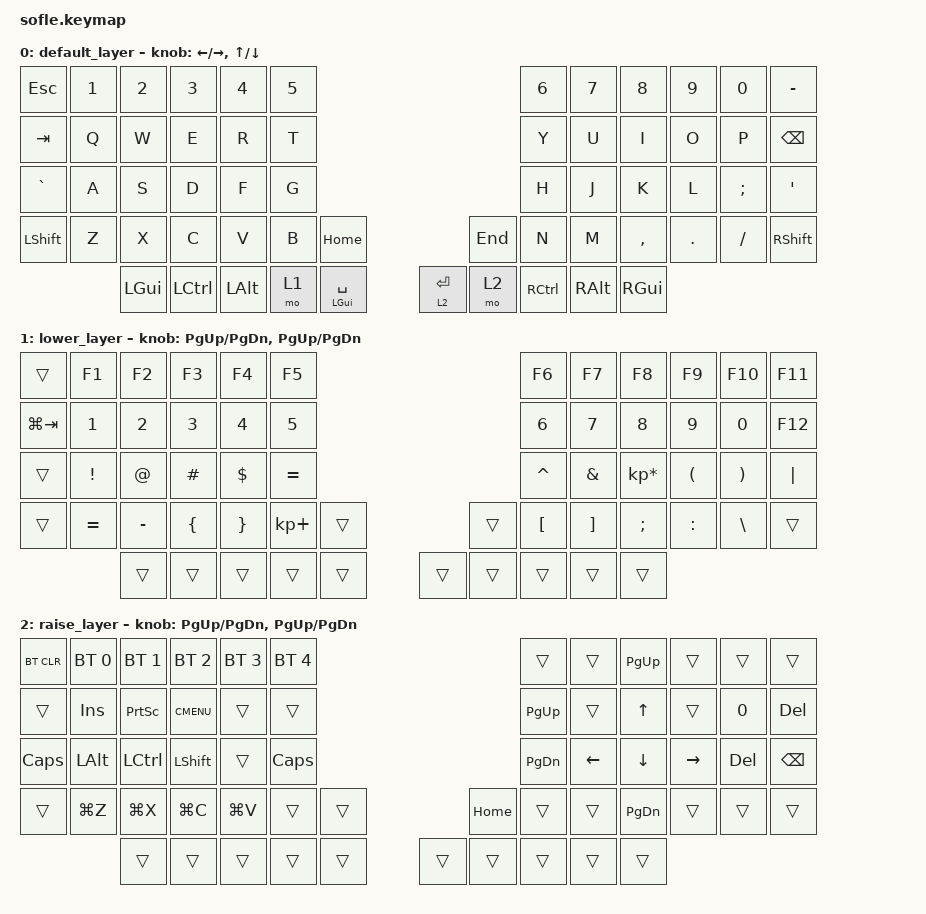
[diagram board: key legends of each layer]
/*
 * Copyright (c) 2020 The ZMK Contributors
 *
 * SPDX-License-Identifier: MIT
 * https://www.youtube.com/watch?v=8wZ8FRwOzhU ben cormack on layers
 * Andrej Mosat softle keyboard layout for ZMK v1 
 * v 0.33 beautiful clicking sound 
 * sticky key removed on shift 
 */

#include <behaviors.dtsi>
#include <dt-bindings/zmk/keys.h>
#include <dt-bindings/zmk/bt.h>


/ {
//    behaviors {
//       as: auto_shift {
//               compatible = "zmk,behavior-hold-tap";
//               label = "AutoShift";
//               #binding-cells = <2>;
//               tapping-term-ms = <220>;
//               quick_tap_ms = <0>;
//               flavor = "tap-preferred";
//               bindings = <&kp>, <&kp>;
//       };
//    };

    keymap {
        compatible = "zmk,keymap";

        default_layer {
// ------------------------------------------------------------------------------------------------------------
// |  ESC  |  1  |  2  |  3   |  4   |  5   |                   |  6   |  7    |  8    |  9   |   0   |   -   |
// |  TAB  |  Q  |  W  |  E   |  R   |  T   |                   |  Y   |  U    |  I    |  O   |   P   | BKSPC |
// | GRAVE |  A  |  S  |  D   |  F   |  G   |                   |  H   |  J    |  K    |  L   |   ;   |   '   |
// | SHIFT |  Z  |  X  |  C   |  V   |  B   |  HOME  |  | END   |  N   |  M    |  ,    |  .   |   /   | SHIFT |
//               | GUI | CTRL | ALT  | LOWER|  SPACE |  | ENTER | RAISE| CTRL  | ALT   | GUI  |
            bindings = <
//&kp ESC   &kp N1 &kp N2   &kp N3   &kp N4    &kp N5                          &kp N6 &kp N7    &kp N8    &kp N9   &kp N0   &kp MINUS            
//&kp TAB   &kp Q  &kp W    &kp E    &kp R     &kp T                           &kp Y  &kp U     &kp I     &kp O    &kp P    &kp BSPC
//&kp GRAVE &kp A  &kp S    &kp D    &kp F     &kp G                           &kp H  &kp J     &kp K     &kp L    &kp SEMI &kp SQT
//&sk LSHFT &kp Z  &kp X    &kp C    &kp V     &kp B  &kp HOME        &kp END  &kp N  &kp M     &kp COMMA &kp DOT  &kp FSLH &sk RSHFT
//                 &kp LGUI &kp LCTRL &kp LALT &mo 1  &mt LGUI SPACE  &lt 2 RET  &mo 2  &kp RCTRL &kp RALT  &kp RGUI



&kp ESC   &kp N1 &kp N2   &kp N3   &kp N4    &kp N5                                        &kp N6 &kp N7    &kp N8    &kp N9   &kp N0   &kp MINUS            
&kp TAB   &kp Q  &kp W    &kp E    &kp R     &kp T                                         &kp Y  &kp U     &kp I     &kp O    &kp P    &kp BSPC
&kp GRAVE &kp A  &kp S    &kp D    &kp F     &kp G                                         &kp H  &kp J     &kp K     &kp L    &kp SEMI &kp SQT
&kp LSHFT &kp Z  &kp X    &kp C    &kp V     &kp B  &kp HOME                      &kp END  &kp N  &kp M     &kp COMMA &kp DOT  &kp FSLH &kp RSHFT
                 &kp LGUI &kp LCTRL &kp LALT &mo 1  &mt LGUI SPACE  &lt 2 RET  &mo 2  &kp RCTRL &kp RALT  &kp RGUI

//&kp ESC   &kp N1 &kp N2   &kp N3   &kp N4    &kp N5                                        &kp N6 &kp N7    &kp N8    &kp N9   &kp N0   &kp MINUS            
//&kp TAB   &as LS(Q) Q &as LS(W) W &as LS(E) E &as LS(R) R &as LS(T) T                      &as LS(Y) Y &as LS(U) U &as LS(I) I &as LS(O) O &as LS(P) P    &kp BSPC
//&kp GRAVE &as LS(A) A &as LS(S) S &as LS(D) D &as LS(F) F &as LS(G) G                      &as LS(H) H &as LS(J) J &as LS(K) K &as LS(L) L    &kp SEMI &kp SQT
//&sk LSHFT &as LS(Z) Z &as LS(X) X &as LS(C) C &as LS(V) V &as LS(B) B  &kp HOME   &kp END  &as LS(N) N &as LS(M) M &as LS(COMMA) COMMA &as LS(DOT) DOT &kp FSLH &sk RSHFT
//                 &kp LGUI &kp LCTRL &kp LALT &mo 1  &mt LGUI SPACE  &lt 2 RET  &mo 2  &kp RCTRL &kp RALT  &kp RGUI



//&kp ESC   &kp N1 &kp N2   &kp N3   &kp N4    &kp N5                          &kp N6 &kp N7    &kp N8    &kp N9   &kp N0   &kp MINUS
//&kp TAB   &as LS(Q) Q &as LS(W) W &as LS(E) E &as LS(R) R &as LS(T) T                  &as LS(Y) Y &as LS(U) U &as LS(I) I &as LS(O) O &as LS(P) P  &kp BSPC
//&kp GRAVE &as LS(A) A &as LS(S) S &as LS(D) D &as LS(F) F &as LS(G) G                  &as LS(H) H &as LS(J) J &as LS(K) K &as LS(L) L &kp SEMI     &kp SQT
//&sk LSHFT &as LS(Z) Z &as LS(X) X &as LS(C) C &as LS(V) V &as LS(B) B  &kp HOME        &kp END  &as LS(N) N &as LS(M) M &as LS(COMMA) COMMA &as LS(DOT) DOT &kp FSLH &mt RSHIFT PAR
//                 &kp LGUI &kp LCTRL &kp LALT &mo 1  &mt LGUI SPACE  &lt 2 RET  &mo 2  &kp RCTRL &kp RALT  &kp RGUI
            >;

            sensor-bindings = <&inc_dec_kp LEFT RIGHT &inc_dec_kp UP DOWN>;
        };

        lower_layer {
// TODO: Some binds are waiting for shifted keycode support.
// ------------------------------------------------------------------------------------------------------------
// |       |  F1 |  F2 |  F3  |  F4  |  F5  |                   |  F6  |  F7   |  F8   |  F9  |  F10  |  F11  |
// | M^TAB |   1 |   2 |   3  |   4  |   5  |                   |   6  |   7   |   8   |   9  |    0  |  F12  |
// |       |  !  |  @  |  #   |  $   |  =   |                   |  ^   |  &    |  *    |  (   |   )   |   |   |
// |       |  =  |  -  |  {   |  }   |  +   |        |  |       |  [   |  ]    |  ;    |  :   |   \   |       |
//               |     |      |      |      |        |  |       |      |       |       |      |
            bindings = <
&trans      &kp F1    &kp F2    &kp F3      &kp F4    &kp F5                    &kp F6    &kp F7   &kp F8          &kp F9    &kp F10   &kp F11
&kp LG(TAB) &kp N1    &kp N2    &kp N3      &kp N4    &kp N5                    &kp N6    &kp N7   &kp N8          &kp N9    &kp N0    &kp F12
&trans      &kp EXCL  &kp AT    &kp HASH    &kp DLLR  &kp EQUAL                 &kp CARET &kp AMPS &kp KP_MULTIPLY &kp LPAR  &kp RPAR  &kp PIPE
&trans      &kp EQUAL &kp MINUS &kp LBRC &kp RBRC  &kp KP_PLUS  &trans   &trans &kp LBKT  &kp RBKT &kp SEMI        &kp COLON &kp BSLH  &trans
                    &trans    &trans      &trans    &trans    &trans   &trans &trans    &trans   &trans          &trans
            >;

            sensor-bindings = <&inc_dec_kp PG_UP PG_DN &inc_dec_kp PG_UP PG_DN>;
        };

        raise_layer {
// ------------------------------------------------------------------------------------------------------------
// |BTCLR| BT0  | BT1  |  BT2  |  BT3  |  BT5 |                |      |      |  PGUP |      |       |       |
// |     | INS  | PSCR | GUI   |       |      |                | PGUP |      |   ^   |      |       |  DEL  |
// |CAPS | ALT  | CTRL | SHIFT |       | CAPS |                | PGDN |   <- |   v   |  ->  |  DEL  | BKSPC |
// |     | UNDO | CUT  | COPY  | PASTE |      |      |  | HOME |      |      |  PGDN |      |       |       |
//              |      |       |       |      |      |  |      |      |      |       |      |
            bindings = <
&bt BT_CLR &bt BT_SEL 0 &bt BT_SEL 1 &bt BT_SEL 2 &bt BT_SEL 3 &bt BT_SEL 4             &trans    &trans    &kp PG_UP &trans    &trans  &trans
&trans     &kp INS      &kp PSCRN    &kp K_CMENU  &trans       &trans                   &kp PG_UP &trans    &kp UP    &trans    &kp N0  &kp DEL
&kp CLCK   &kp LALT     &kp LCTRL    &kp LSHFT    &trans       &kp CLCK                 &kp PG_DN &kp LEFT  &kp DOWN  &kp RIGHT &kp DEL &kp BSPC
&trans     &kp LG(Z)  &kp LG(X)  &kp LG(C)  &kp LG(V)  &trans  &trans  &kp HOME &trans    &trans    &kp PG_DN &trans    &trans  &trans
                        &trans       &trans       &trans       &trans  &trans  &trans   &trans    &trans    &trans    &trans
            >;

            sensor-bindings = <&inc_dec_kp PG_UP PG_DN &inc_dec_kp PG_UP PG_DN>;
        };
    };
};

//K_PASTE
//K_CUT
//K_UNDO
//K_COPY
//&out OUT_USB
//&out OUT_BLE
//&out OUT_TOG
//https://zmk.dev/docs/behaviors/outputs/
